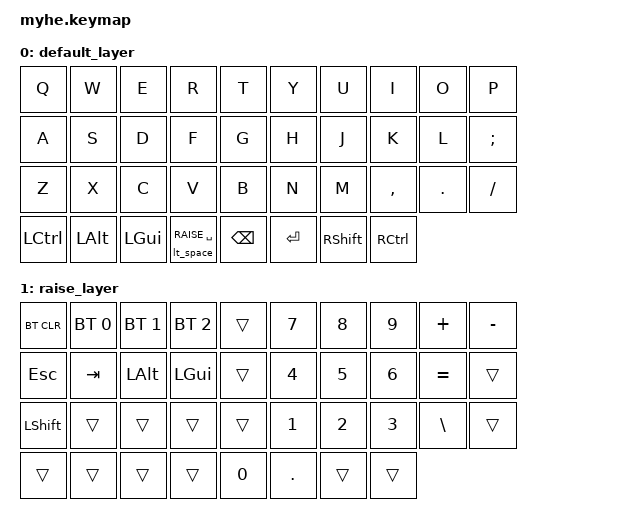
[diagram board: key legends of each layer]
#include <behaviors.dtsi>
#include <dt-bindings/zmk/keys.h>
#include <dt-bindings/zmk/bt.h>

#define DEFAULT 0
#define RAISE 1

/ {
    behaviros {
        // 길게 누르면 레이어 변경, 짧게 누르면 스페이스
        lt_space: layer_tap_space {
            compatible = "zmk,behavior-layer-tap";
            #binding-cells = <2>;
            tapping-term-ms = <280>;
            bindings = <&kp>, <&mo>;
        };
    };

    keymap {
        compatible = "zmk,keymap";

        default_layer {
            //.overlay에서 정의한 8x8 매트릭스에 맞춰 64개 키를 정의합니다.
            // 아래는 Alice 배열 스타일의 예시입니다.
            bindings = <
                &kp Q       &kp W           &kp E           &kp R                   &kp T       &kp Y       &kp U           &kp I       &kp O       &kp P
                &kp A       &kp S           &kp D           &kp F                   &kp G       &kp H       &kp J           &kp K       &kp L       &kp SEMI
                &kp Z       &kp X           &kp C           &kp V                   &kp B       &kp N       &kp M           &kp COMMA   &kp DOT     &kp FSLH
                &kp LCTRL   &kp LALT        &kp LGUI        &lt_space RAISE SPACE   &kp BSPC    &kp ENTER   &kp RSHIFT      &kp RCTRL
            >;
        };

        raise_layer {
            bindings = <
                &bt BT_CLR  &bt BT_SEL 0    &bt BT_SEL 1    &bt BT_SEL 2            &trans      &kp N7      &kp N8          &kp N9      &kp PLUS    &kp MINUS
                &kp ESC     &kp TAB         &kp LALT        &kp LGUI                &trans      &kp N4      &kp N5          &kp N6      &kp EQUAL   &trans
                &kp LSHFT   &trans          &trans          &trans                  &trans      &kp N1      &kp N2          &kp N3      &kp BSLH    &trans
                &trans      &trans          &trans          &trans                  &kp N0      &kp DOT     &trans          &trans
            >;
        };
    };
};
